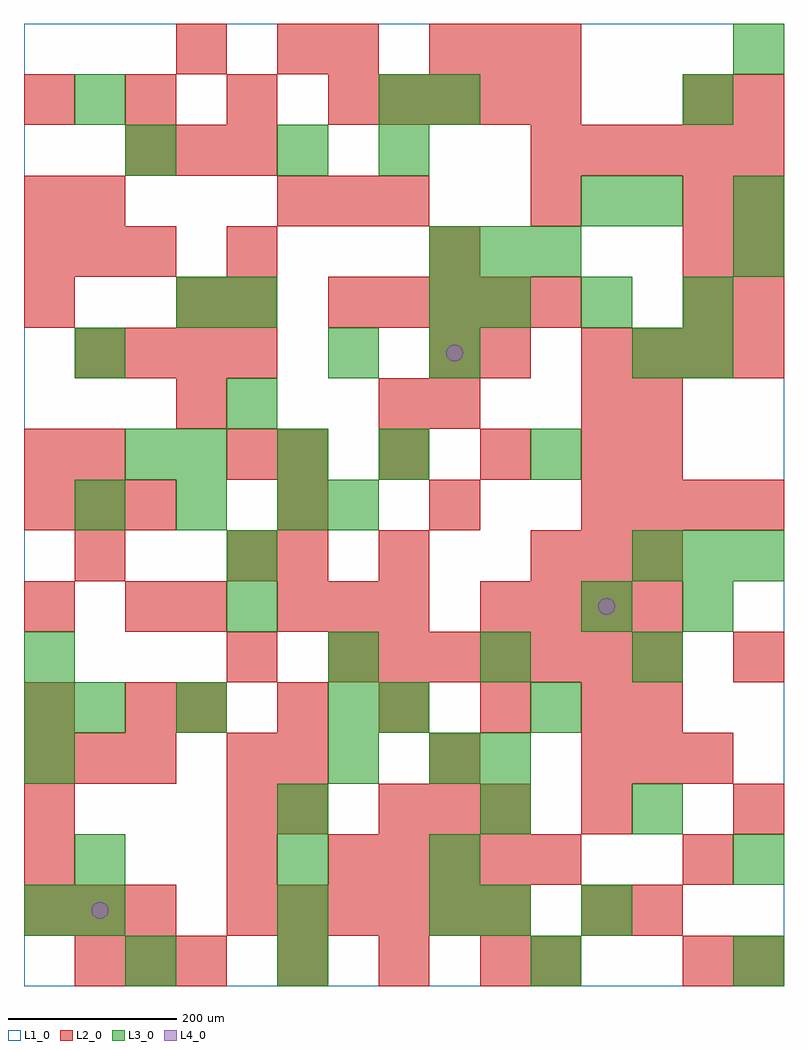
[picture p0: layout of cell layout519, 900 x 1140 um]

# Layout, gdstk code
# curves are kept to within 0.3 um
import gdstk
lib = gdstk.Library(unit=1e-6, precision=1e-09)
def R(c, l, rs):  # rectangles x0, y0, x1, y1
    for r in rs: c.add(gdstk.rectangle(r[:2], r[2:], *l))
def A(c, l, x, y, w, h, nx, ny, dx, dy):  # array of equal rectangles
    R(c, l, [(x+i*dx, y+j*dy, x+i*dx+w, y+j*dy+h) for i in range(nx) for j in range(ny)])
def P(c, l, *ps):  # polygons
    for p in ps: c.add(gdstk.Polygon(p, *l))
L1_0 = (1, 0)
L2_0 = (2, 0)
L3_0 = (3, 0)
L4_0 = (4, 0)

layout519 = lib.new_cell('layout519')
R(layout519, L1_0, [(0,0,900,1140)])
A(layout519, L2_0, 60, 0, 60, 60, 3, 1, 60, 0)
A(layout519, L2_0, 300, 0, 60, 60, 3, 1, 120, 0)
A(layout519, L2_0, 780, 0, 60, 60, 1, 3, 0, 120)
A(layout519, L2_0, 840, 0, 60, 60, 1, 3, 0, 180)
A(layout519, L2_0, 0, 60, 60, 60, 3, 2, 60, 180)
A(layout519, L2_0, 240, 60, 60, 60, 6, 1, 60, 0)
A(layout519, L2_0, 240, 120, 60, 60, 1, 3, 0, 60)
A(layout519, L2_0, 360, 120, 60, 60, 5, 2, 60, 660)
A(layout519, L2_0, 0, 180, 60, 60, 1, 3, 0, 120)
A(layout519, L2_0, 420, 180, 60, 60, 3, 1, 60, 0)
A(layout519, L2_0, 300, 240, 60, 60, 3, 2, 180, 300)
A(layout519, L2_0, 180, 300, 60, 60, 5, 1, 120, 0)
A(layout519, L2_0, 240, 360, 60, 60, 1, 3, 0, 120)
A(layout519, L2_0, 360, 360, 60, 60, 7, 1, 60, 0)
A(layout519, L2_0, 300, 420, 60, 60, 3, 2, 60, 480)
A(layout519, L2_0, 540, 420, 60, 60, 4, 1, 60, 0)
A(layout519, L2_0, 600, 480, 60, 60, 3, 1, 60, 0)
A(layout519, L2_0, 0, 540, 60, 60, 3, 2, 60, 300)
A(layout519, L2_0, 720, 540, 60, 60, 3, 1, 60, 0)
A(layout519, L2_0, 300, 600, 60, 60, 4, 1, 120, 0)
A(layout519, L2_0, 60, 720, 60, 60, 4, 1, 60, 0)
A(layout519, L2_0, 660, 720, 60, 60, 4, 1, 60, 0)
A(layout519, L2_0, 780, 780, 60, 60, 1, 3, 0, 60)
A(layout519, L2_0, 840, 780, 60, 60, 1, 3, 0, 60)
A(layout519, L2_0, 120, 960, 60, 60, 3, 1, 60, 0)
A(layout519, L2_0, 600, 960, 60, 60, 5, 1, 60, 0)
A(layout519, L2_0, 0, 1020, 60, 60, 4, 1, 120, 0)
A(layout519, L2_0, 420, 1020, 60, 60, 4, 1, 60, 0)
A(layout519, L2_0, 480, 1080, 60, 60, 3, 1, 60, 0)
R(layout519, L2_0, [(600,0,660,60), (660,60,720,120), (720,60,780,120), (0,120,60,180), (300,180,360,240), (660,180,720,240), (720,240,780,300), (120,300,180,360), (720,300,780,360), (120,420,180,480), (180,420,240,480), (60,480,120,540), (300,480,360,540), (420,480,480,540), (0,600,60,660), (60,600,120,660), (720,600,780,660), (180,660,240,720), (420,660,480,720), (480,660,540,720), (660,660,720,720), (720,660,780,720), (480,720,540,780), (540,720,600,780), (0,780,60,840), (180,780,240,840), (240,780,300,840), (240,840,300,900), (480,840,540,900), (0,900,60,960), (60,900,120,960), (600,900,660,960), (780,1020,840,1080), (840,1020,900,1080), (180,1080,240,1140), (300,1080,360,1140), (360,1080,420,1140)])
A(layout519, L3_0, 300, 0, 60, 60, 1, 4, 0, 60)
A(layout519, L3_0, 600, 0, 60, 60, 1, 3, 0, 300)
A(layout519, L3_0, 0, 240, 60, 60, 1, 3, 0, 60)
A(layout519, L3_0, 360, 360, 60, 60, 3, 1, 180, 0)
A(layout519, L3_0, 780, 420, 60, 60, 1, 3, 0, 300)
A(layout519, L3_0, 720, 480, 60, 60, 3, 1, 60, 0)
A(layout519, L3_0, 60, 540, 60, 60, 3, 1, 120, 0)
A(layout519, L3_0, 180, 600, 60, 60, 3, 1, 120, 0)
A(layout519, L3_0, 540, 780, 60, 60, 3, 1, 120, 0)
A(layout519, L3_0, 480, 840, 60, 60, 3, 1, 60, 0)
R(layout519, L3_0, [(120,0,180,60), (840,0,900,60), (0,60,60,120), (60,60,120,120), (480,60,540,120), (540,60,600,120), (660,60,720,120), (60,120,120,180), (480,120,540,180), (840,120,900,180), (540,180,600,240), (720,180,780,240), (360,240,420,300), (480,240,540,300), (540,240,600,300), (60,300,120,360), (180,300,240,360), (360,300,420,360), (420,300,480,360), (240,420,300,480), (660,420,720,480), (240,480,300,540), (360,540,420,600), (120,600,180,660), (240,660,300,720), (60,720,120,780), (360,720,420,780), (480,720,540,780), (720,720,780,780), (180,780,240,840), (240,780,300,840), (480,780,540,840), (840,840,900,900), (660,900,720,960), (720,900,780,960), (840,900,900,960), (120,960,180,1020), (300,960,360,1020), (420,960,480,1020), (60,1020,120,1080), (420,1020,480,1080), (480,1020,540,1080), (840,1080,900,1140)])
P(layout519, L4_0, [(100,90),(99.239,93.827),(97.071,97.071),(93.827,99.239),(90,100),(86.173,99.239),(82.929,97.071),(80.761,93.827),(80,90),(80.761,86.173),(82.929,82.929),(86.173,80.761),(90,80),(93.827,80.761),(97.071,82.929),(99.239,86.173)],
  [(520,750),(519.239,753.827),(517.071,757.071),(513.827,759.239),(510,760),(506.173,759.239),(502.929,757.071),(500.761,753.827),(500,750),(500.761,746.173),(502.929,742.929),(506.173,740.761),(510,740),(513.827,740.761),(517.071,742.929),(519.239,746.173)],
  [(700,450),(699.239,453.827),(697.071,457.071),(693.827,459.239),(690,460),(686.173,459.239),(682.929,457.071),(680.761,453.827),(680,450),(680.761,446.173),(682.929,442.929),(686.173,440.761),(690,440),(693.827,440.761),(697.071,442.929),(699.239,446.173)])

lib.write_gds('layout519.gds')
